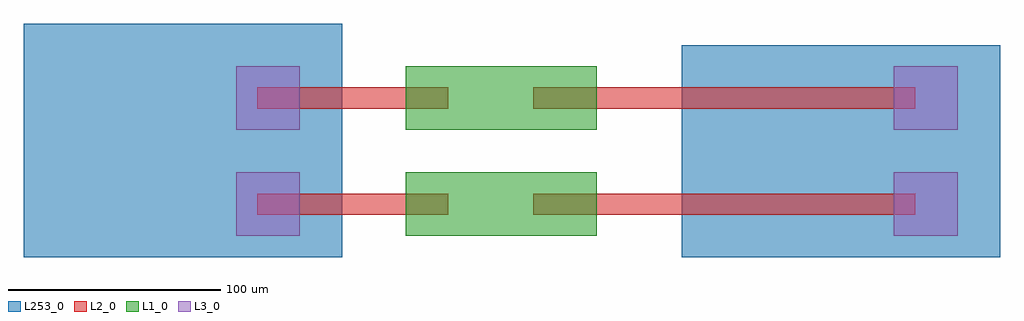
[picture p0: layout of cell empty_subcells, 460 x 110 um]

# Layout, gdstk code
import gdstk
lib = gdstk.Library(unit=1e-6, precision=1e-06)
def R(c, l, rs):  # rectangles x0, y0, x1, y1
    for r in rs: c.add(gdstk.rectangle(r[:2], r[2:], *l))
L1_0 = (1, 0)
L2_0 = (2, 0)
L3_0 = (3, 0)
L253_0 = (253, 0)

blockb = lib.new_cell('blockB')
R(blockb, L3_0, [(100,10,130,40), (100,60,130,90)])
R(blockb, L253_0, [(0,0,150,110)])
blockb.add(gdstk.Label('V', (120,80), layer=254, texttype=0))
blockb.add(gdstk.Label('W', (120,30), layer=254, texttype=0))

blocka = lib.new_cell('blockA')
R(blocka, L3_0, [(100,10,130,40), (100,60,130,90)])
R(blocka, L253_0, [(0,0,150,100)])
blocka.add(gdstk.Label('A', (120,80), layer=254, texttype=0))
blocka.add(gdstk.Label('B', (120,30), layer=254, texttype=0))

empty_subcells = lib.new_cell('empty_subcells')
R(empty_subcells, L1_0, [(180,10,270,40), (180,60,270,90)])
R(empty_subcells, L2_0, [(110,20,200,30), (240,20,420,30), (110,70,200,80), (240,70,420,80)])
empty_subcells.add(gdstk.Reference(blockb, (0,0)))
empty_subcells.add(gdstk.Reference(blocka, (310,0)))

lib.write_gds('empty_subcells.gds')
